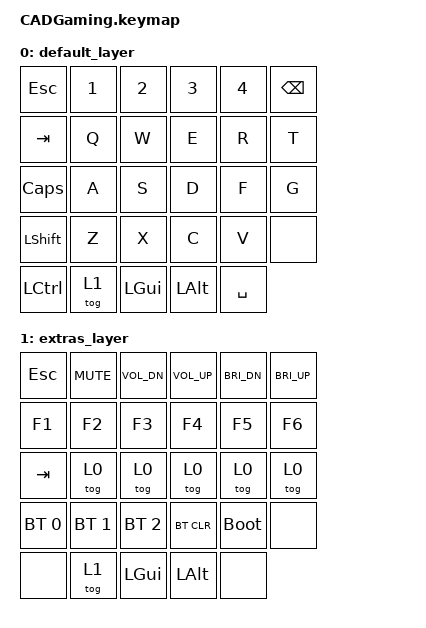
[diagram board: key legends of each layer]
#include <behaviors.dtsi>
#include <dt-bindings/zmk/keys.h>
#include <dt-bindings/zmk/bt.h>

/ {
    keymap {
        compatible = "zmk,keymap";

        default_layer { // Layer 0
            // -------------------------------------
            // |     ESC     |     1     |     2     |     3     |     4     | Backspace |
            //         |   Tab     |     Q     |     W     |    E     |     R     |     T     |
            //            |  CapsLock |     A     |     S     |     D     |    F     |     G     |
            //          |      SHIFT     |     Z     |     X     |     C     |    V     |
            //   |    CTRL   |    LAYER 1   |  Windows  |    ALT    |   SPACE   |
            bindings = <
                &kp ESC    &kp N1   &kp N2   &kp N3   &kp N4   &kp BSPC
                &kp TAB    &kp Q    &kp W    &kp E    &kp R    &kp T
                &kp CAPS   &kp A    &kp S    &kp D    &kp F    &kp G
                &kp LSHIFT &kp Z    &kp X    &kp C    &kp V    &none
                &kp LCTRL  &tog 1   &kp LGUI &kp LALT &kp SPACE
            >;
        };

        extras_layer { // Layer 1
            bindings = <
                &kp ESC      &kp C_MUTE    &kp C_VOL_DN  &kp C_VOL_UP    &kp C_BRI_DN    &kp C_BRI_UP
                &kp F1       &kp F2        &kp F3        &kp F4          &kp F5          &kp F6
                &kp TAB      &tog 0        &tog 0        &tog 0          &tog 0          &tog 0 
                &bt BT_SEL 0 &bt BT_SEL 1  &bt BT_SEL 2  &bt BT_CLR      &bootloader     &none
                &none        &tog 1        &kp LGUI      &kp LALT        &none
            >;
        };
    };
 };
